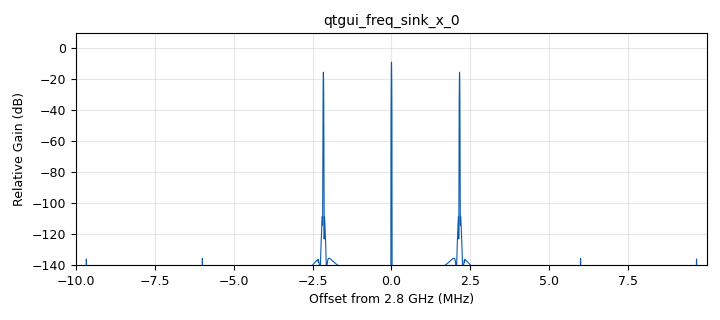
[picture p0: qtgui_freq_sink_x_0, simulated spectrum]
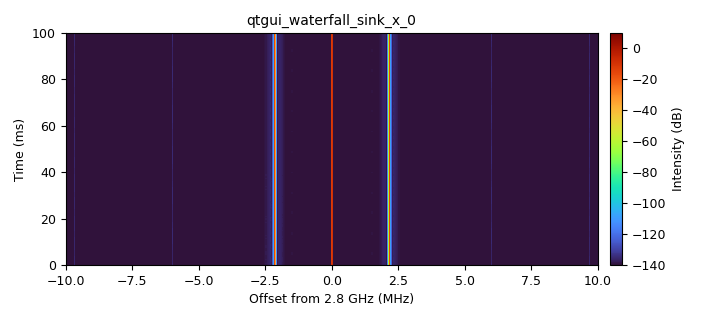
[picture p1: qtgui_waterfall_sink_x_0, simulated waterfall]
options:
  parameters:
    author: simon
    generate_options: qt_gui
    id: test
    output_language: python
    title: Not titled yet
  states: {}

blocks:
- name: MW_freq
  id: variable
  parameters:
    value: 2.8e9
  states: {}
- name: f_Hyperfine
  id: variable
  parameters:
    value: 2e6
  states: {state: disabled}
- name: f_Hyperfine
  id: variable_qtgui_range
  parameters:
    start: 1e6
    step: 0.01e6
    stop: 3e6
    value: 2.16e6
  states: {}
- name: samp_rate
  id: variable
  parameters:
    value: 20e6
  states: {}
- name: analog_sig_source_x_0
  id: analog_sig_source_x
  parameters:
    amp: '1'
    freq: '0'
    offset: '0'
    phase: '0'
    samp_rate: samp_rate
    type: float
    waveform: analog.GR_CONST_WAVE
  states: {}
- name: analog_sig_source_x_0_0
  id: analog_sig_source_x
  parameters:
    amp: '1'
    freq: f_Hyperfine
    offset: '0'
    phase: '0'
    samp_rate: samp_rate
    type: float
    waveform: analog.GR_SIN_WAVE
  states: {}
- name: analog_sig_source_x_0_1
  id: analog_sig_source_x
  parameters:
    amp: '1'
    freq: MW_freq
    offset: '0'
    phase: '0'
    samp_rate: samp_rate
    type: float
    waveform: analog.GR_CONST_WAVE
  states: {}
- name: blocks_add_xx_0
  id: blocks_add_xx
  parameters:
    type: float
  states: {}
- name: blocks_multiply_xx_0
  id: blocks_multiply_xx
  parameters:
    type: float
  states: {}
- name: blocks_throttle2_0
  id: blocks_throttle2
  parameters:
    maximum: '1'
    samples_per_second: samp_rate
    type: float
  states: {state: bypassed}
- name: qtgui_freq_sink_x_0
  id: qtgui_freq_sink_x
  parameters:
    bw: samp_rate
    fc: MW_freq
    fftsize: '4096'
    legend: 'False'
    type: float
  states: {}
- name: qtgui_waterfall_sink_x_0
  id: qtgui_waterfall_sink_x
  parameters:
    bw: samp_rate
    fc: MW_freq
    fftsize: '4096'
    type: float
  states: {}

connections:
- [analog_sig_source_x_0, '0', blocks_multiply_xx_0, '0']
- [analog_sig_source_x_0_0, '0', blocks_multiply_xx_0, '1']
- [analog_sig_source_x_0_1, '0', blocks_add_xx_0, '1']
- [blocks_add_xx_0, '0', blocks_throttle2_0, '0']
- [blocks_add_xx_0, '0', qtgui_waterfall_sink_x_0, '0']
- [blocks_multiply_xx_0, '0', blocks_add_xx_0, '0']
- [blocks_throttle2_0, '0', qtgui_freq_sink_x_0, '0']

metadata:
  file_format: 1
  grc_version: 3.10.11.0
